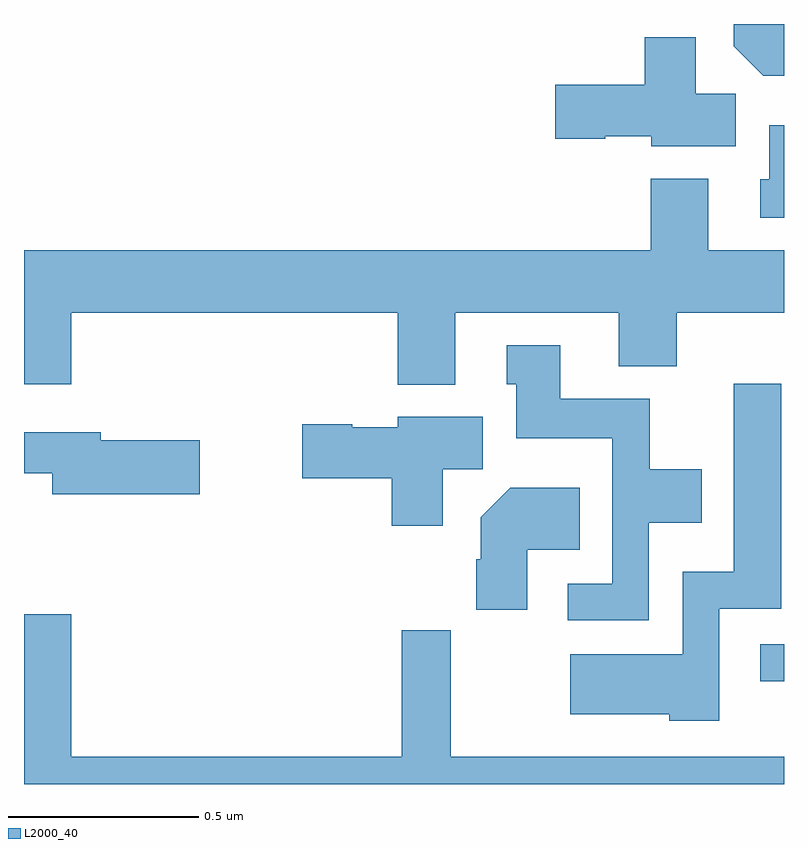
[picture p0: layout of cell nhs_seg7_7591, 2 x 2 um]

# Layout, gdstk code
import gdstk
lib = gdstk.Library(unit=1e-6, precision=1e-09)
def R(c, l, rs):  # rectangles x0, y0, x1, y1
    for r in rs: c.add(gdstk.rectangle(r[:2], r[2:], *l))
def P(c, l, *ps):  # polygons
    for p in ps: c.add(gdstk.Polygon(p, *l))
L2000_40 = (2000, 40)

nhs_seg7_7591 = lib.new_cell('nhs_seg7_7591')
R(nhs_seg7_7591, L2000_40, [(214.938,1042.271,215,1042.368)])
P(nhs_seg7_7591, L2000_40, [(215,1044),(214.868,1044),(214.868,1043.942),(214.946,1043.864),(215,1043.864)],
  [(214.873,1043.816),(214.768,1043.816),(214.768,1043.965),(214.634,1043.965),(214.634,1043.84),(214.398,1043.84),(214.398,1043.698),(214.53,1043.698),(214.53,1043.705),(214.65,1043.705),(214.65,1043.678),(214.873,1043.678)],
  [(215,1043.734),(214.961,1043.734),(214.961,1043.592),(214.937,1043.592),(214.937,1043.49),(215,1043.49)],
  [(214.135,1043.24),(214.565,1043.24),(214.565,1043.099),(214.718,1043.099),(214.718,1043.24),(215,1043.24),(215,1043.404),(214.801,1043.404),(214.801,1043.593),(214.649,1043.593),(214.649,1043.404),(213,1043.404),(213,1043.052),(213.124,1043.052),(213.124,1043.24),(213.983,1043.24),(213.983,1043.051),(214.135,1043.051)],
  [(214.644,1042.688),(214.783,1042.688),(214.783,1042.828),(214.647,1042.828),(214.647,1043.014),(214.411,1043.014),(214.411,1043.155),(214.271,1043.155),(214.271,1043.052),(214.295,1043.052),(214.295,1042.91),(214.548,1042.91),(214.548,1042.527),(214.431,1042.527),(214.431,1042.431),(214.644,1042.431)],
  [(214.83,1042.461),(214.993,1042.461),(214.993,1043.053),(214.868,1043.053),(214.868,1042.558),(214.734,1042.558),(214.734,1042.342),(214.437,1042.342),(214.437,1042.184),(214.698,1042.184),(214.698,1042.166),(214.83,1042.166)],
  [(214.102,1042.828),(214.207,1042.828),(214.207,1042.966),(213.984,1042.966),(213.984,1042.939),(213.864,1042.939),(213.864,1042.947),(213.732,1042.947),(213.732,1042.805),(213.968,1042.805),(213.968,1042.68),(214.102,1042.68)],
  [(213.463,1042.905),(213.202,1042.905),(213.202,1042.926),(213,1042.926),(213,1042.818),(213.074,1042.818),(213.074,1042.763),(213.463,1042.763)],
  [(214.324,1042.616),(214.463,1042.616),(214.463,1042.78),(214.28,1042.78),(214.202,1042.702),(214.202,1042.592),(214.19,1042.592),(214.19,1042.458),(214.324,1042.458)],
  [(215,1042.072),(214.123,1042.072),(214.123,1042.405),(213.994,1042.405),(213.994,1042.072),(213.124,1042.072),(213.124,1042.447),(213,1042.447),(213,1042),(215,1042)])

lib.write_gds('nhs_seg7_7591.gds')
